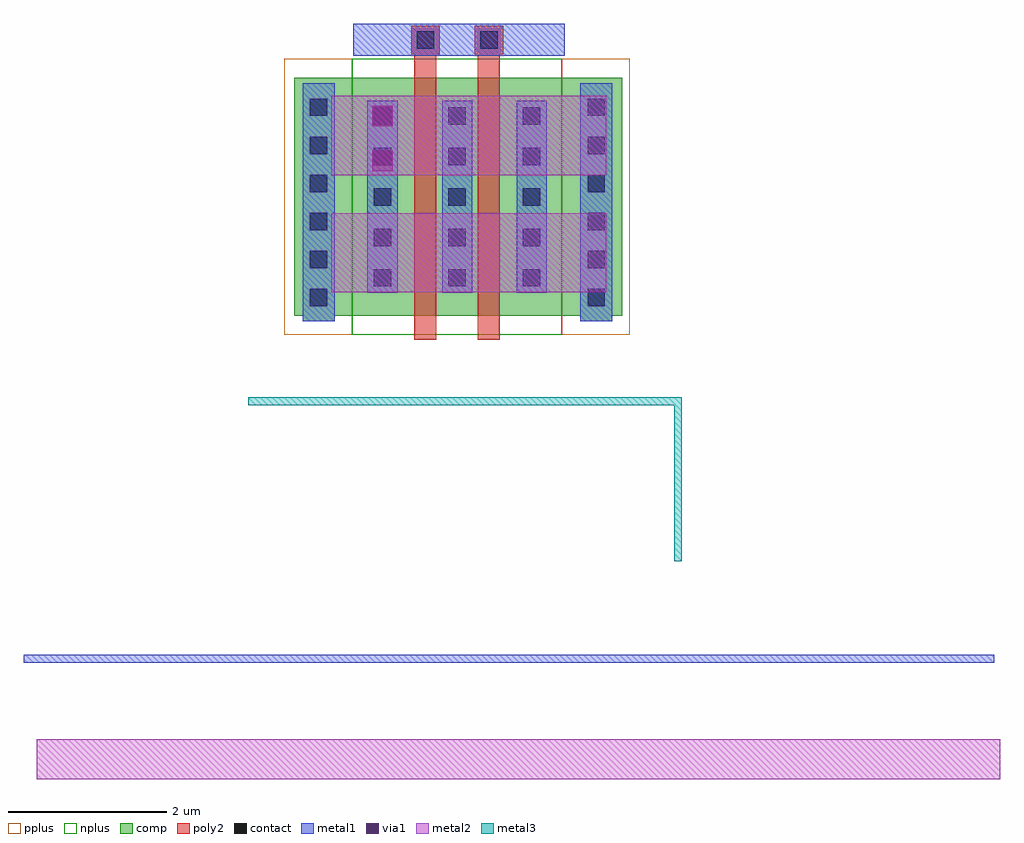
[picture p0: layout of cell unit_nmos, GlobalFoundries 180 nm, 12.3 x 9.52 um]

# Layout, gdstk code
from math import pi, radians
import gdstk
lib = gdstk.Library(unit=1e-6, precision=1e-09)
def R(c, l, rs):  # rectangles x0, y0, x1, y1
    for r in rs: c.add(gdstk.rectangle(r[:2], r[2:], *l))
def A(c, l, x, y, w, h, nx, ny, dx, dy):  # array of equal rectangles
    R(c, l, [(x+i*dx, y+j*dy, x+i*dx+w, y+j*dy+h) for i in range(nx) for j in range(ny)])
comp = (22, 0)
poly2 = (30, 0)
pplus = (31, 0)
nplus = (32, 0)
contact = (33, 0)
metal1 = (34, 0)
via1 = (35, 0)
metal2 = (36, 0)
metal3 = (42, 0)

via_dev_1 = lib.new_cell('via_dev$1')
R(via_dev_1, comp, [(0,0,3,0.4)])
A(via_dev_1, contact, 0.19, 0.09, 0.22, 0.22, 6, 1, 0.48, 0)
R(via_dev_1, metal1, [(0,0,3,0.4)])

nfet = lib.new_cell('nfet')
R(nfet, comp, [(-0.42,0,0,3), (0,0,1.46,3), (1.46,0,1.88,3)])
R(nfet, poly2, [(0.19,-0.3,0.47,3.3), (0.99,-0.3,1.27,3.3), (0.15,3.3,0.51,3.66), (0.95,3.3,1.31,3.66)])
R(nfet, nplus, [(-0.59,-0.24,2.05,3.24)])
A(nfet, contact, -0.32, 0.37, 0.22, 0.22, 3, 5, 0.94, 0.51)
R(nfet, contact, [(0.22,3.37,0.44,3.59), (1.02,3.37,1.24,3.59)])
A(nfet, metal1, -0.4, 0.29, 0.38, 2.42, 3, 1, 0.94, 0)
R(nfet, metal1, [(0.14,3.289,0.52,3.671), (0.94,3.289,1.32,3.671)])

metal_paths = lib.new_cell('metal_paths')
metal_paths.add(gdstk.FlexPath([(-0.75,0.33),(11.485,0.33)], 0.1, ends="flush", simple_path=True, layer=34, datatype=0))  # metal1
metal_paths.add(gdstk.FlexPath([(-0.59,-0.935),(11.555,-0.935)], 0.5, ends="flush", simple_path=True, layer=36, datatype=0))  # metal2

unit_nmos = lib.new_cell('unit_nmos')
R(unit_nmos, comp, [(-1.325,0,2.815,3)])
R(unit_nmos, pplus, [(-1.45,-0.24,-0.59,3.24), (2.05,-0.24,2.91,3.24)])
R(unit_nmos, via1, [(-0.34,1.825,-0.08,2.085), (-0.34,2.39,-0.08,2.65)])
unit_nmos.add(gdstk.FlexPath([(-0.58,3.48),(2.085,3.48)], 0.4, ends="flush", simple_path=True, layer=34, datatype=0))  # metal1
unit_nmos.add(gdstk.FlexPath([(-0.855,0.795),(2.61,0.795)], 1, ends="flush", simple_path=True, layer=36, datatype=0))  # metal2
unit_nmos.add(gdstk.FlexPath([(-0.855,2.275),(2.61,2.275)], 1, ends="flush", simple_path=True, layer=36, datatype=0))  # metal2
unit_nmos.add(gdstk.FlexPath([(-1.9,-1.075),(3.515,-1.075),(3.515,-3.095)], 0.1, ends="flush", simple_path=True, layer=42, datatype=0))  # metal3
unit_nmos.add(gdstk.Reference(via_dev_1, (-0.815,-0.07), rotation=pi/2))
unit_nmos.add(gdstk.Reference(nfet, (0,0)))
unit_nmos.add(gdstk.Reference(via_dev_1, (2.685,-0.07), rotation=pi/2))
unit_nmos.add(gdstk.Reference(metal_paths, (-3.98,-4.655)))

lib.write_gds('unit_nmos.gds')
